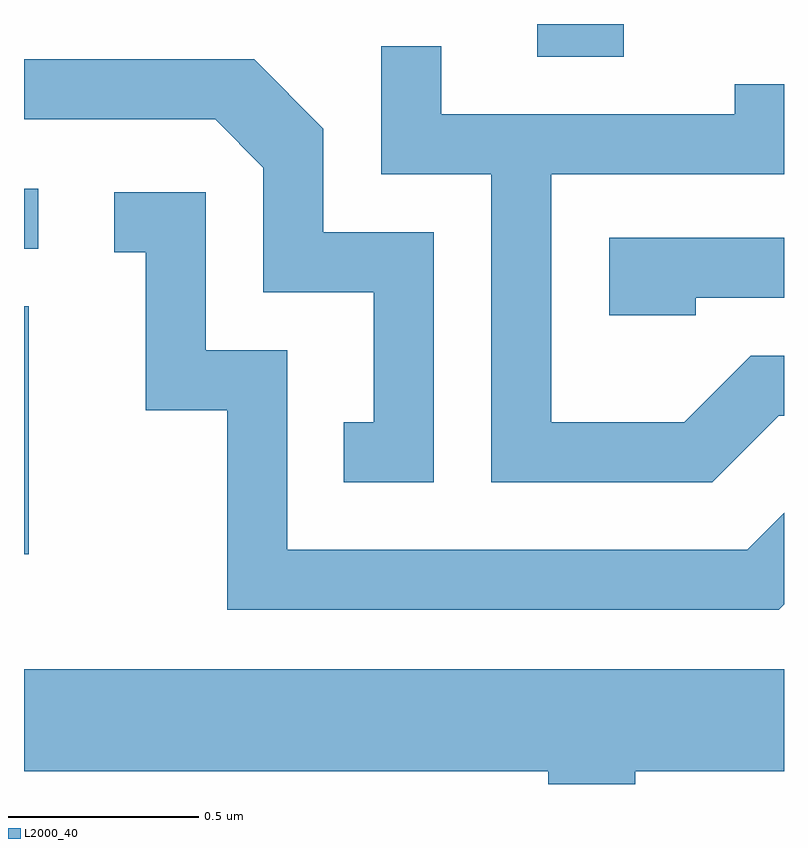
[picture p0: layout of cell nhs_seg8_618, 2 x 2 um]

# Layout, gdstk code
import gdstk
lib = gdstk.Library(unit=1e-6, precision=1e-09)
def R(c, l, rs):  # rectangles x0, y0, x1, y1
    for r in rs: c.add(gdstk.rectangle(r[:2], r[2:], *l))
def P(c, l, *ps):  # polygons
    for p in ps: c.add(gdstk.Polygon(p, *l))
L2000_40 = (2000, 40)

nhs_seg8_618 = lib.new_cell('nhs_seg8_618')
R(nhs_seg8_618, L2000_40, [(189.611,1876.946,189.624,1877.599), (189.611,1877.751,189.648,1877.909), (190.961,1878.256,191.189,1878.342)])
P(nhs_seg8_618, L2000_40, [(191.597,1877.311),(191.611,1877.311),(191.611,1877.469),(191.524,1877.469),(191.349,1877.294),(190.999,1877.294),(190.999,1877.946),(191.611,1877.946),(191.611,1878.183),(191.481,1878.183),(191.481,1878.104),(190.709,1878.104),(190.709,1878.283),(190.551,1878.283),(190.551,1877.946),(190.841,1877.946),(190.841,1877.136),(191.422,1877.136)],
  [(190.689,1877.794),(190.399,1877.794),(190.399,1878.067),(190.217,1878.249),(189.611,1878.249),(189.611,1878.091),(190.114,1878.091),(190.241,1877.964),(190.241,1877.636),(190.531,1877.636),(190.531,1877.294),(190.453,1877.294),(190.453,1877.136),(190.689,1877.136)],
  [(191.611,1876.815),(191.611,1877.056),(191.514,1876.959),(190.304,1876.959),(190.304,1877.484),(190.089,1877.484),(190.089,1877.899),(189.848,1877.899),(189.848,1877.741),(189.931,1877.741),(189.931,1877.326),(190.146,1877.326),(190.146,1876.801),(191.597,1876.801)],
  [(191.379,1877.621),(191.611,1877.621),(191.611,1877.779),(191.151,1877.779),(191.151,1877.576),(191.379,1877.576)],
  [(191.219,1876.376),(191.611,1876.376),(191.611,1876.644),(189.611,1876.644),(189.611,1876.376),(190.991,1876.376),(190.991,1876.342),(191.219,1876.342)])

lib.write_gds('nhs_seg8_618.gds')
